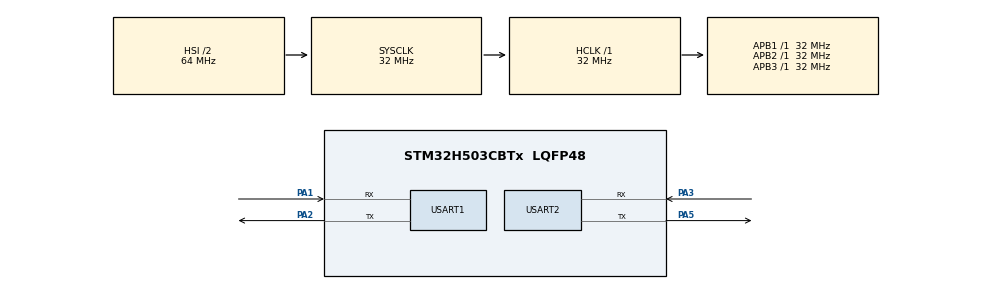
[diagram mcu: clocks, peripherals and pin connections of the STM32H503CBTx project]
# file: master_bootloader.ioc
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Mcu.Family=STM32H5
Mcu.Name=STM32H503CBTx
Mcu.Package=LQFP48
NVIC.PriorityGroup=NVIC_PRIORITYGROUP_4
NVIC.USART1_IRQn=true\:0\:0\:false\:false\:true\:true\:true\:true
NVIC.USART2_IRQn=true\:0\:0\:false\:false\:true\:true\:true\:true
PA1.Mode=Asynchronous
PA1.Signal=USART1_RX
PA2.Mode=Asynchronous
PA2.Signal=USART1_TX
PA3.Mode=Asynchronous
PA3.Signal=USART2_RX
PA5.Mode=Asynchronous
PA5.Signal=USART2_TX
PH0-OSC_IN(PH0).Mode=HSE-External-Oscillator
PH0-OSC_IN(PH0).Signal=RCC_OSC_IN
PH1-OSC_OUT(PH1).Mode=HSE-External-Oscillator
PH1-OSC_OUT(PH1).Signal=RCC_OSC_OUT
ProjectManager.HeapSize=0x200
ProjectManager.StackSize=0x400
ProjectManager.TargetToolchain=STM32CubeIDE
RCC.ADCFreq_Value=32000000
RCC.AHBFreq_Value=32000000
RCC.APB1Freq_Value=32000000
RCC.APB1TimFreq_Value=32000000
RCC.APB2Freq_Value=32000000
RCC.APB2TimFreq_Value=32000000
RCC.APB3Freq_Value=32000000
RCC.CSI_VALUE=4000000
RCC.CortexFreq_Value=32000000
RCC.EPOD_VALUE=4000000
RCC.HCLKFreq_Value=32000000
RCC.HSE_VALUE=25000000
RCC.HSI48_VALUE=48000000
RCC.HSI_VALUE=64000000
RCC.LSE_VALUE=32768
RCC.LSIRC_VALUE=32000
RCC.SYSCLKFreq_VALUE=32000000
RCC.USBFreq_Value=48000000
RCC.VCOOutputFreq_Value=516000000
USART1.VirtualMode-Asynchronous=VM_ASYNC
USART2.VirtualMode-Asynchronous=VM_ASYNC
VP_BOOTPATH_VS_BOOTPATH.Mode=BP_Activate
VP_CORTEX_M33_NS_VS_Hclk.Mode=Hclk_Mode
VP_MEMORYMAP_VS_MEMORYMAP.Mode=CurAppReg
VP_PWR_VS_LPOM.Mode=PowerOptimisation
VP_PWR_VS_SECSignals.Mode=Security/Privilege
board=custom

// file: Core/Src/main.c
/* USER CODE BEGIN Header */
/**
  ******************************************************************************
  * @file           : main.c
  * @brief          : Main program body
  ******************************************************************************
  * @attention
  *
  * Copyright (c) 2026 STMicroelectronics.
  * All rights reserved.
  *
  * This software is licensed under terms that can be found in the LICENSE file
  * in the root directory of this software component.
  * If no LICENSE file comes with this software, it is provided AS-IS.
  *
  ******************************************************************************
  */
/* USER CODE END Header */

#include "main.h"

UART_HandleTypeDef huart1;
UART_HandleTypeDef huart2;

/* USER CODE BEGIN PV */
uint8_t rx_buffer[64];  // Буфер для приёма 64 байт от F103
/* USER CODE END PV */

void SystemClock_Config(void);
static void MX_GPIO_Init(void);
static void MX_USART1_UART_Init(void);
static void MX_USART2_UART_Init(void);

int main(void)
{

  /* MCU Configuration--------------------------------------------------------*/

  /* Reset of all peripherals, Initializes the Flash interface and the Systick. */
  HAL_Init();

  /* Configure the system clock */
  SystemClock_Config();

  /* Initialize all configured peripherals */
  MX_GPIO_Init();
  MX_USART1_UART_Init();
  MX_USART2_UART_Init();

  /* USER CODE BEGIN 2 */
  uint8_t cmd = 0x01;
  uint8_t ack;
  /* USER CODE END 2 */

  /* Infinite loop */
  while (1)
  {

    /* USER CODE BEGIN 3 */

    // 1️⃣ Отправляем запрос F103
    if (HAL_UART_Transmit(&huart1, &cmd, 1, 100) != HAL_OK) {
      __HAL_UART_CLEAR_FLAG(&huart1, UART_CLEAR_OREF | UART_CLEAR_NEF | UART_CLEAR_PEF | UART_CLEAR_FEF);
      HAL_Delay(50);
      continue;
    }

    // 2️⃣ Ждём подтверждение 0x22 (таймаут 300 мс)
    if (HAL_UART_Receive(&huart1, &ack, 1, 300) == HAL_OK && ack == 0x22) {

      // 3️⃣ Принимаем блок данных 64 байта (таймаут 1000 мс)
      if (HAL_UART_Receive(&huart1, rx_buffer, 64, 1000) == HAL_OK) {
        // ✅ Успех: пересылаем на ПК через USART2
        HAL_UART_Transmit(&huart2, rx_buffer, 64, 200);
      } else {
        // ❌ Ошибка/таймаут приёма данных: чистим флаги UART
        __HAL_UART_CLEAR_FLAG(&huart1, UART_CLEAR_OREF | UART_CLEAR_NEF | UART_CLEAR_PEF | UART_CLEAR_FEF);
      }
    } else {
      // ❌ Нет ответа 0x22 или таймаут: чистим флаги UART
      __HAL_UART_CLEAR_FLAG(&huart1, UART_CLEAR_OREF | UART_CLEAR_NEF | UART_CLEAR_PEF | UART_CLEAR_FEF);
    }

    // Пауза между циклами запросов (даёт F103 время на обработку)
    HAL_Delay(100);

    /* USER CODE END 3 */
  }
  /* USER CODE END WHILE */

}

void SystemClock_Config(void)
{
  RCC_OscInitTypeDef RCC_OscInitStruct = {0};
  RCC_ClkInitTypeDef RCC_ClkInitStruct = {0};

  /** Configure the main internal regulator output voltage
  */
  __HAL_PWR_VOLTAGESCALING_CONFIG(PWR_REGULATOR_VOLTAGE_SCALE3);

  while(!__HAL_PWR_GET_FLAG(PWR_FLAG_VOSRDY)) {}

  /** Initializes the RCC Oscillators according to the specified parameters
  * in the RCC_OscInitTypeDef structure.
  */
  RCC_OscInitStruct.OscillatorType = RCC_OSCILLATORTYPE_HSI;
  RCC_OscInitStruct.HSIState = RCC_HSI_ON;
  RCC_OscInitStruct.HSIDiv = RCC_HSI_DIV2;
  RCC_OscInitStruct.HSICalibrationValue = RCC_HSICALIBRATION_DEFAULT;
  RCC_OscInitStruct.PLL.PLLState = RCC_PLL_NONE;
  if (HAL_RCC_OscConfig(&RCC_OscInitStruct) != HAL_OK)
  {
    Error_Handler();
  }

  /** Initializes the CPU, AHB and APB buses clocks
  */
  RCC_ClkInitStruct.ClockType = RCC_CLOCKTYPE_HCLK|RCC_CLOCKTYPE_SYSCLK
                              |RCC_CLOCKTYPE_PCLK1|RCC_CLOCKTYPE_PCLK2
                              |RCC_CLOCKTYPE_PCLK3;
  RCC_ClkInitStruct.SYSCLKSource = RCC_SYSCLKSOURCE_HSI;
  RCC_ClkInitStruct.AHBCLKDivider = RCC_SYSCLK_DIV1;
  RCC_ClkInitStruct.APB1CLKDivider = RCC_HCLK_DIV1;
  RCC_ClkInitStruct.APB2CLKDivider = RCC_HCLK_DIV1;
  RCC_ClkInitStruct.APB3CLKDivider = RCC_HCLK_DIV1;

  if (HAL_RCC_ClockConfig(&RCC_ClkInitStruct, FLASH_LATENCY_1) != HAL_OK)
  {
    Error_Handler();
  }

  /** Configure the programming delay
  */
  __HAL_FLASH_SET_PROGRAM_DELAY(FLASH_PROGRAMMING_DELAY_0);
}

static void MX_USART1_UART_Init(void)
{

  huart1.Instance = USART1;
  huart1.Init.BaudRate = 115200;
  huart1.Init.WordLength = UART_WORDLENGTH_8B;
  huart1.Init.StopBits = UART_STOPBITS_1;
  huart1.Init.Parity = UART_PARITY_NONE;
  huart1.Init.Mode = UART_MODE_TX_RX;
  huart1.Init.HwFlowCtl = UART_HWCONTROL_NONE;
  huart1.Init.OverSampling = UART_OVERSAMPLING_16;
  huart1.Init.OneBitSampling = UART_ONE_BIT_SAMPLE_DISABLE;
  huart1.Init.ClockPrescaler = UART_PRESCALER_DIV1;
  huart1.AdvancedInit.AdvFeatureInit = UART_ADVFEATURE_NO_INIT;
  if (HAL_UART_Init(&huart1) != HAL_OK)
  {
    Error_Handler();
  }
  if (HAL_UARTEx_SetTxFifoThreshold(&huart1, UART_TXFIFO_THRESHOLD_1_8) != HAL_OK)
  {
    Error_Handler();
  }
  if (HAL_UARTEx_SetRxFifoThreshold(&huart1, UART_RXFIFO_THRESHOLD_1_8) != HAL_OK)
  {
    Error_Handler();
  }
  if (HAL_UARTEx_DisableFifoMode(&huart1) != HAL_OK)
  {
    Error_Handler();
  }

}

static void MX_USART2_UART_Init(void)
{

  huart2.Instance = USART2;
  huart2.Init.BaudRate = 115200;
  huart2.Init.WordLength = UART_WORDLENGTH_8B;
  huart2.Init.StopBits = UART_STOPBITS_1;
  huart2.Init.Parity = UART_PARITY_NONE;
  huart2.Init.Mode = UART_MODE_TX_RX;
  huart2.Init.HwFlowCtl = UART_HWCONTROL_NONE;
  huart2.Init.OverSampling = UART_OVERSAMPLING_16;
  huart2.Init.OneBitSampling = UART_ONE_BIT_SAMPLE_DISABLE;
  huart2.Init.ClockPrescaler = UART_PRESCALER_DIV1;
  huart2.AdvancedInit.AdvFeatureInit = UART_ADVFEATURE_NO_INIT;
  if (HAL_UART_Init(&huart2) != HAL_OK)
  {
    Error_Handler();
  }
  if (HAL_UARTEx_SetTxFifoThreshold(&huart2, UART_TXFIFO_THRESHOLD_1_8) != HAL_OK)
  {
    Error_Handler();
  }
  if (HAL_UARTEx_SetRxFifoThreshold(&huart2, UART_RXFIFO_THRESHOLD_1_8) != HAL_OK)
  {
    Error_Handler();
  }
  if (HAL_UARTEx_DisableFifoMode(&huart2) != HAL_OK)
  {
    Error_Handler();
  }

}

static void MX_GPIO_Init(void)
{

  /* GPIO Ports Clock Enable */
  __HAL_RCC_GPIOH_CLK_ENABLE();
  __HAL_RCC_GPIOA_CLK_ENABLE();

}

void Error_Handler(void)
{
  __disable_irq();
  while (1)
  {
  }
}
